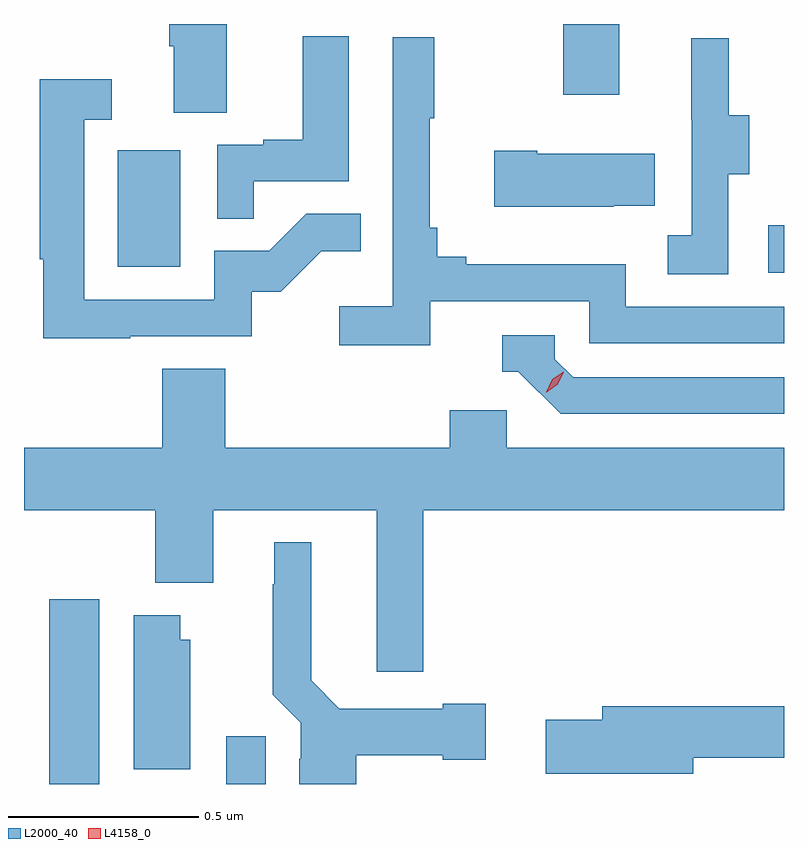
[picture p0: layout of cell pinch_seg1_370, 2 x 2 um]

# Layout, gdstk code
import gdstk
lib = gdstk.Library(unit=1e-6, precision=1e-09)
def R(c, l, rs):  # rectangles x0, y0, x1, y1
    for r in rs: c.add(gdstk.rectangle(r[:2], r[2:], *l))
def P(c, l, *ps):  # polygons
    for p in ps: c.add(gdstk.Polygon(p, *l))
L2000_40 = (2000, 40)
L4158_0 = (4158, 0)

pinch_seg1_370 = lib.new_cell('pinch_seg1_370')
R(pinch_seg1_370, L2000_40, [(950.132,540.355,950.263,540.841), (950.597,540.355,950.701,540.481), (952.023,541.701,952.065,541.826), (950.312,541.716,950.476,542.023), (951.484,542.169,951.631,542.355)])
P(pinch_seg1_370, L2000_40, [(950.599,542.355),(950.447,542.355),(950.447,542.296),(950.459,542.296),(950.459,542.122),(950.599,542.122)],
  [(950.669,541.941),(950.92,541.941),(950.92,542.323),(950.798,542.323),(950.798,542.05),(950.695,542.05),(950.695,542.037),(950.574,542.037),(950.574,541.843),(950.669,541.843)],
  [(951.134,541.626),(951.552,541.626),(951.552,541.515),(952.065,541.515),(952.065,541.611),(951.648,541.611),(951.648,541.723),(951.229,541.723),(951.229,541.742),(951.152,541.742),(951.152,541.819),(951.133,541.819),(951.133,542.107),(951.145,542.107),(951.145,542.32),(951.036,542.32),(951.036,541.612),(950.895,541.612),(950.895,541.51),(951.134,541.51)],
  [(951.918,541.96),(951.973,541.96),(951.973,542.115),(951.919,542.115),(951.919,542.317),(951.821,542.317),(951.821,542.103),(951.822,542.103),(951.822,541.799),(951.759,541.799),(951.759,541.696),(951.918,541.696)],
  [(950.345,541.533),(950.664,541.533),(950.664,541.65),(950.74,541.65),(950.847,541.757),(950.951,541.757),(950.951,541.856),(950.808,541.856),(950.71,541.758),(950.565,541.758),(950.565,541.629),(950.223,541.629),(950.223,542.103),(950.296,542.103),(950.296,542.209),(950.107,542.209),(950.107,541.736),(950.115,541.736),(950.115,541.528),(950.345,541.528)],
  [(951.617,541.877),(951.725,541.877),(951.725,542.014),(951.415,542.014),(951.415,542.022),(951.303,542.022),(951.303,541.874),(951.617,541.874)],
  [(952.065,541.425),(951.51,541.425),(951.462,541.473),(951.462,541.536),(951.323,541.536),(951.323,541.44),(951.366,541.44),(951.477,541.329),(952.065,541.329)],
  [(951.116,541.076),(952.065,541.076),(952.065,541.24),(951.336,541.24),(951.336,541.338),(951.185,541.338),(951.185,541.24),(950.594,541.24),(950.594,541.448),(950.429,541.448),(950.429,541.24),(950.065,541.24),(950.065,541.076),(950.411,541.076),(950.411,540.884),(950.563,540.884),(950.563,541.076),(950.993,541.076),(950.993,540.651),(951.116,540.651)],
  [(950.939,540.431),(951.167,540.431),(951.167,540.419),(951.28,540.419),(951.28,540.566),(951.167,540.566),(951.167,540.553),(950.895,540.553),(950.821,540.628),(950.821,540.991),(950.723,540.991),(950.723,540.881),(950.719,540.881),(950.719,540.59),(950.793,540.516),(950.793,540.422),(950.789,540.422),(950.789,540.355),(950.939,540.355)],
  [(950.503,540.735),(950.476,540.735),(950.476,540.799),(950.354,540.799),(950.354,540.394),(950.503,540.394)],
  [(951.826,540.424),(952.065,540.424),(952.065,540.56),(951.587,540.56),(951.587,540.524),(951.438,540.524),(951.438,540.382),(951.826,540.382)])
P(pinch_seg1_370, L4158_0, [(951.439,541.386),(951.439,541.386),(951.455,541.42),(951.485,541.44),(951.485,541.44),(951.485,541.44),(951.47,541.407),(951.44,541.386)])

lib.write_gds('pinch_seg1_370.gds')
